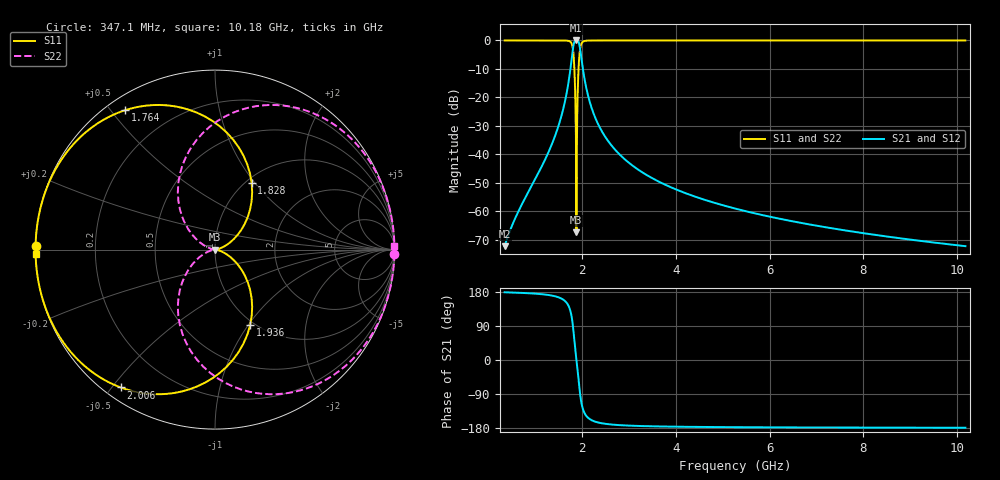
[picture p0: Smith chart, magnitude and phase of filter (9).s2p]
! rf-tools.com
! Date: Thu Jan 30 2020 11:12:34 GMT+0000 (格林尼治标准时间)
# Hz S DB R 50.00
!Frequency  S11 dB  S11 Deg  S21 dB  S21 Deg  S12 dB  S12 Deg  S22 dB  S22 Deg
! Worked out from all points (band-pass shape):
!   2000 points, 347.1 MHz to 10.18 GHz, reference 50 ohm
!   highest |S21| = 0.00 dB at 1.878 GHz (marker M1); lowest = -72.3 dB at 347.1 MHz (marker M2)
!   |S21| within 3 dB of the highest: 1.805 GHz to 1.958 GHz (153.4 MHz wide, 8.15 % of centre)
!   lowest |S11| = -67.4 dB at 1.878 GHz (marker M3), VSWR 1.00, Z = 50 + j0.00125 ohm
!   |S11| at or under -10 dB: 1.836 GHz to 1.925 GHz (88.75 MHz wide, 4.72 % of centre)
!   |S22| runs from -67.4 to 0.0 dB; largest |S21 - S12| = 0
!   S11 on the Smith chart (normalised r, x): 347.1 MHz: -0.00, +0.01; 1.764 GHz: 0.05, +0.55; 1.828 GHz: 1.07, +0.96; 1.936 GHz: 0.95, -1.02; 2.006 GHz: 0.05, -0.53; 10.18 GHz: -0.00, -0.01
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3.47119e8  -0.00 178.7  -72.25 178.7  -72.25 178.7  -0.00 -1.3
1.423512e9  -0.00 168.2  -33.54 168.2  -33.54 168.2  -0.00 -11.8
1.668615e9  -0.06 151.3  -18.70 151.3  -18.70 151.3  -0.06 -28.7
1.764322e9  -0.69 122.7  -8.33 122.7  -8.33 122.7  -0.69 -57.3
1.794394e9  -2.03 100.4  -4.28 100.4  -4.28 100.4  -2.03 -79.6
1.828065e9  -7.48 61.1  -0.85 61.1  -0.85 61.1  -7.48 -118.9
1.840465e9  -11.75 45.0  -0.30 45.0  -0.30 45.0  -11.75 -135.0
1.856084e9  -20.37 25.9  -0.04 25.9  -0.04 25.9  -20.37 -154.1
1.878173e9  -67.37 1.7  -0.00 1.7  -0.00 1.7  -67.37 -178.3
1.900525e9  -22.84 -22.3  -0.02 -22.3  -0.02 -22.3  -22.84 157.7
1.919895e9  -11.75 -45.0  -0.30 -45.0  -0.30 -45.0  -11.75 135.0
1.936187e9  -6.66 -65.1  -1.05 -65.1  -1.05 -65.1  -6.66 114.9
1.985899e9  -1.16 -113.1  -6.31 -113.1  -6.31 -113.1  -1.16 66.9
2.00614e9  -0.63 -124.3  -8.72 -124.3  -8.72 -124.3  -0.63 55.7
2.128388e9  -0.05 -152.5  -19.41 -152.5  -19.41 -152.5  -0.05 27.5
2.494859e9  -0.00 -168.4  -33.86 -168.4  -33.86 -168.4  -0.00 11.6
2.959233e9  -0.00 -172.9  -42.42 -172.9  -42.42 -172.9  -0.00 7.1
3.624583e9  -0.00 -175.3  -49.47 -175.3  -49.47 -175.3  -0.00 4.7
5.26587e9  -0.00 -177.3  -59.04 -177.3  -59.04 -177.3  -0.00 2.7
6.91262e9  -0.00 -178.1  -64.80 -178.1  -64.80 -178.1  -0.00 1.9
8.55314e9  -0.00 -178.5  -68.97 -178.5  -68.97 -178.5  -0.00 1.5
1.01795e10  -0.00 -178.7  -72.25 -178.7  -72.25 -178.7  -0.00 1.3
